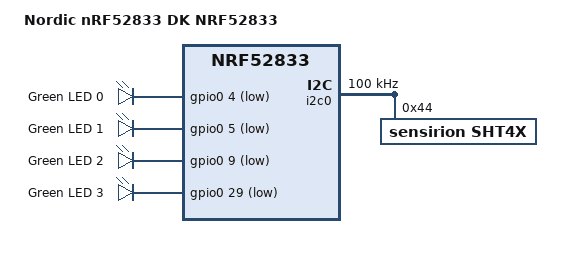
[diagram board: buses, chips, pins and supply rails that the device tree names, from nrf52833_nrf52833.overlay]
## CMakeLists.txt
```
# SPDX-License-Identifier: Apache-2.0

cmake_minimum_required(VERSION 3.20.0)
find_package(Zephyr REQUIRED HINTS $ENV{ZEPHYR_BASE})
project(periodic_adv)

target_sources(app PRIVATE src/main.c)
```

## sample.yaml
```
sample:
  name: LIS2DH Accelerometer Monitor
tests:
  sample.sensor.lis2dh:
    harness: sensor
    tags: samples sensor
    depends_on: i2c lis2dh
```

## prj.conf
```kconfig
CONFIG_CBPRINTF_FP_SUPPORT=y
CONFIG_I2C=y
CONFIG_SENSOR=y
CONFIG_SHT4X=y
```

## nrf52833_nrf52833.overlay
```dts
&i2c0 {
    compatible = "nordic,nrf-twim"; // Ensure this matches the I2C peripheral on your Nordic SoC
    status = "okay";
    clock-frequency = <I2C_BITRATE_STANDARD>; // Set the I2C bus speed to standard rate (100 kHz)

    sht4x@44 {  // Node for the SHT4x sensor with I2C address 0x44
        compatible = "sensirion,sht4x"; // SHT4x sensor compatible string
        reg = <0x44>;                   // I2C address of the SHT4x sensor
        label = "SHT4X";                // Optional label for the sensor
        status = "okay";                // Enable the sensor
        repeatability = <2>;            // Sensor repeatability setting (if applicable)
    };
};

/* for node */

/ {
	model = "Nordic nRF52833 DK NRF52833";
    compatible = "nordic,nrf52833-dk-nrf52833";

	chosen {
		zephyr,console = &uart0;
		zephyr,shell-uart = &uart0;
		zephyr,uart-mcumgr = &uart0;
		zephyr,bt-mon-uart = &uart0;
		zephyr,bt-c2h-uart = &uart0;
		zephyr,sram = &sram0;
		zephyr,flash = &flash0;
		zephyr,code-partition = &slot0_partition;
	};

	leds {
		compatible = "gpio-leds";
		led0: led_0 {
			gpios = <&gpio0 4 GPIO_ACTIVE_LOW>;
			label = "Green LED 0";
		};
		led1: led_1 {
			gpios = <&gpio0 5 GPIO_ACTIVE_LOW>;
			label = "Green LED 1";
		};
		led2: led_2 {
			gpios = <&gpio0 9 GPIO_ACTIVE_LOW>;
			label = "Green LED 2";
		};
		led3: led_3 {
			gpios = <&gpio0 29 GPIO_ACTIVE_LOW>;
			label = "Green LED 3";
		};
	};
};
&pinctrl {
	uart0_default: uart0_default {
		group1 {
			psels = <NRF_PSEL(UART_TX, 0, 29)>, //6   for nrf52dk5832 / 5840
				<NRF_PSEL(UART_RX, 0, 28)>;   //8	  for nrf52dk5832
				
		};
	};

	uart0_sleep: uart0_sleep {
		group1 {
			psels = <NRF_PSEL(UART_TX, 0, 29)>,    //6
				<NRF_PSEL(UART_RX, 0, 28)>;        //8
				
			low-power-enable;
		};
	};
	i2c0_default: i2c0_default {
		group1 {
			psels = <NRF_PSEL(TWIM_SDA, 0, 2)>,  
				<NRF_PSEL(TWIM_SCL, 0, 3)>;      
		};
	};

	i2c0_sleep: i2c0_sleep {
		group1 {
			psels = <NRF_PSEL(TWIM_SDA, 0, 2)>,   
				<NRF_PSEL(TWIM_SCL, 0, 3)>;        
			low-power-enable;
		};
	};
};
```

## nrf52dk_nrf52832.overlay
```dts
&i2c0 {
    compatible = "nordic,nrf-twim"; // Ensure this matches the I2C peripheral on your Nordic SoC
    status = "okay";
    clock-frequency = <I2C_BITRATE_STANDARD>; // Set the I2C bus speed to standard rate (100 kHz)

    sht4x@44 {  // Node for the SHT4x sensor with I2C address 0x44
        compatible = "sensirion,sht4x"; // SHT4x sensor compatible string
        reg = <0x44>;                   // I2C address of the SHT4x sensor
        label = "SHT4X";                // Optional label for the sensor
        status = "okay";                // Enable the sensor
        repeatability = <2>;            // Sensor repeatability setting (if applicable)
    };
};

/* for node */

// &pinctrl {
// 	uart0_default: uart0_default {
// 		group1 {
// 			psels = <NRF_PSEL(UART_TX, 0, 24)>, //6   for nrf52dk5832 / 5840
// 				<NRF_PSEL(UART_RX, 0, 23)>,   //8	  for nrf52dk5832
// 				<NRF_PSEL(UART_RTS, 0, 5)>,
// 				<NRF_PSEL(UART_CTS, 0, 7)>;
// 		};
// 	};

// 	uart0_sleep: uart0_sleep {
// 		group1 {
// 			psels = <NRF_PSEL(UART_TX, 0, 24)>,    //6
// 				<NRF_PSEL(UART_RX, 0, 23)>,        //8
// 				<NRF_PSEL(UART_RTS, 0, 5)>,
// 				<NRF_PSEL(UART_CTS, 0, 7)>;
// 			low-power-enable;
// 		};
// 	};
// 	i2c0_default: i2c0_default {
// 		group1 {
// 			psels = <NRF_PSEL(TWIM_SDA, 0, 26)>,  
// 				<NRF_PSEL(TWIM_SCL, 0, 25)>;      
// 		};
// 	};

// 	i2c0_sleep: i2c0_sleep {
// 		group1 {
// 			psels = <NRF_PSEL(TWIM_SDA, 0, 26)>,   
// 				<NRF_PSEL(TWIM_SCL, 0, 25)>;        
// 			low-power-enable;
// 		};
// 	};

	

// };
```

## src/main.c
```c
#include <zephyr/kernel.h>         // Zephyr kernel header
#include <zephyr/device.h>         // Device API
#include <zephyr/drivers/i2c.h>    // I2C driver API
#include <zephyr/drivers/sensor.h> // Sensor driver API

#define sleepTime 1000 // Define sleep time of 1 second

void main(void)
{
  const struct device *sht = DEVICE_DT_GET_ANY(sensirion_sht4x); // Get the SHT4x device from the device tree

  if (!device_is_ready(sht)) // Check if the SHT device is ready
  {
    printf("Device %s is not ready\n", sht->name); // Print error if the device is not ready
    return;
  }

  struct sensor_value temp, hum; // Variables to store temperature and humidity values

  while (1) // Infinite loop for continuous operation
  {
    if (sensor_sample_fetch(sht) == 0) // Fetch sensor samples; if successful
    {
      sensor_channel_get(sht, SENSOR_CHAN_AMBIENT_TEMP, &temp); // Get temperature value
      sensor_channel_get(sht, SENSOR_CHAN_HUMIDITY, &hum);      // Get humidity value

      printf("Temperature: %.2f°C Humidity: %.2f %%RH\n",
             sensor_value_to_double(&temp), sensor_value_to_double(&hum)); // Print the sensor values
    }
    else
    {
      printf("Error: Failed to fetch sensor data\n"); // Print an error message if data fetch fails
    }

    k_msleep(sleepTime); // Sleep for the defined interval
  }
}
```
